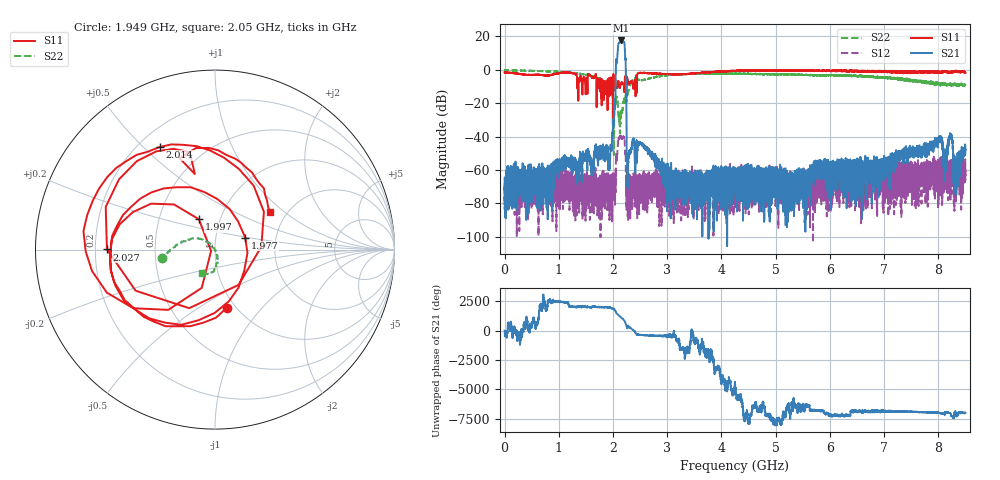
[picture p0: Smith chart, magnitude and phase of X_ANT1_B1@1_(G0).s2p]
#  HZ  S  RI  R  50.00
! Rohde & Schwarz Vector Network Analyzer
! Rohde-Schwarz,ZNBT8-20Port,1318700624101681,3.50
! Created: UTC 7/15/2025, 2:07:12 PM
! freq[Hz]  re:S1010  im:S1010  re:S0610  im:S0610  re:S1006  im:S1006  re:S66  im:S66
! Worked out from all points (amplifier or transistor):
!   8500 points, 1 MHz to 8.5 GHz, reference 50 ohm
!   highest |S21| = 17.5 dB at 2.144 GHz (marker M1)
!   |S21| within 3 dB of that: 2.095 GHz to 2.215 GHz (119.5 MHz wide, 5.55 % of centre)
!   unconditionally stable (mu >= 1): start of sweep to end of sweep
!   at 1.417 GHz: K = 450179.89, MAG = -51.1 dB, |S12| = -73.2 dB
!   at 4.251 GHz: K = 137573.13, MAG = -55.5 dB, |S12| = -65.1 dB
!   at 8.5 GHz: K = 70318.40, MAG = -44.9 dB, |S12| = -63.1 dB
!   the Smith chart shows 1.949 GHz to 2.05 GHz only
!   S11 on the Smith chart (normalised r, x): 1.949 GHz: 0.91, -0.66; 1.977 GHz: 1.39, +0.19; 1.997 GHz: 0.79, +0.28; 2.014 GHz: 0.28, +0.56; 2.027 GHz: 0.25, +0.00; 2.05 GHz: 1.63, +0.80
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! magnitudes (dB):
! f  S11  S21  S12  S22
! 1 MHz  -1.6  -76.4  -73.5  -0.2
! 1.418 GHz  -5.1  -52.8  -78.5  -2.5
! 1.949 GHz  -9.6  -50.5  -70.5  -10.5
! 1.977 GHz  -14.8  -47.7  -73.1  -13.2
! 1.997 GHz  -14.3  -37.8  -70.9  -17.8
! 2.014 GHz  -3.7  -33.2  -71.3  -33.9
! 2.027 GHz  -4.4  -17.5  -67.2  -22.8
! 2.05 GHz  -8.6  -6.8  -63.3  -16.5
! 2.144 GHz  -8.6  17.5  -40.0  -26.9
! 2.205 GHz  -10.8  16.4  -40.5  -17.9
! 2.293 GHz  -8.5  -50.7  -72.4  -12.0
! 2.514 GHz  -1.9  -44.3  -65.6  -6.2
! 2.834 GHz  -2.4  -57.1  -73.3  -4.0
! 3.24 GHz  -2.7  -66.6  -71.7  -2.8
! 4.251 GHz  -0.7  -67.3  -65.1  -2.6
! 5.667 GHz  -0.4  -57.8  -62.3  -3.3
! 7.084 GHz  -0.9  -52.1  -58.7  -5.0
! 8.014 GHz  -1.3  -41.5  -67.6  -8.7
! 8.125 GHz  -0.7  -53.4  -65.9  -9.2
! 8.231 GHz  -1.0  -39.6  -59.3  -9.2
! 8.32 GHz  -0.8  -59.8  -64.6  -8.5
! 8.5 GHz  -1.9  -50.0  -63.1  -9.4
